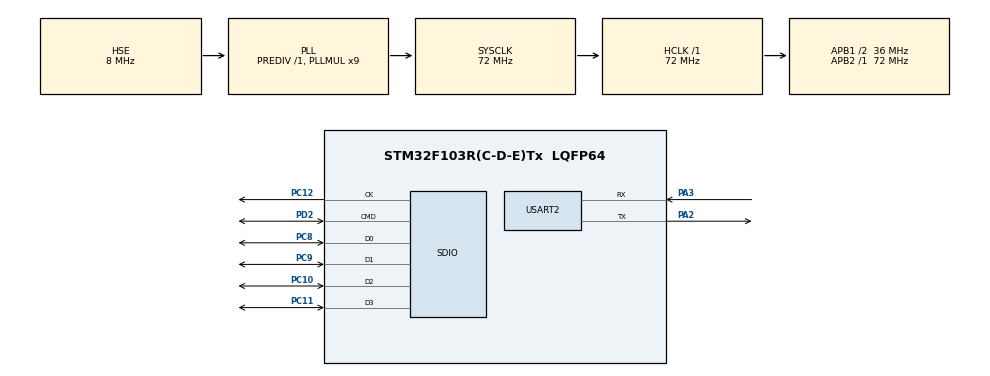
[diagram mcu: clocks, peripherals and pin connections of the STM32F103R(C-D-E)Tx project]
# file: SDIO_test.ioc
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Dma.Request0=SDIO
Dma.SDIO.0.Direction=DMA_PERIPH_TO_MEMORY
Dma.SDIO.0.Instance=DMA2_Channel4
Dma.SDIO.0.MemDataAlignment=DMA_MDATAALIGN_WORD
Dma.SDIO.0.MemInc=DMA_MINC_ENABLE
Dma.SDIO.0.Mode=DMA_NORMAL
Dma.SDIO.0.PeriphDataAlignment=DMA_PDATAALIGN_WORD
Dma.SDIO.0.PeriphInc=DMA_PINC_DISABLE
Dma.SDIO.0.Priority=DMA_PRIORITY_LOW
FATFS._CODE_PAGE=936
FATFS._USE_LFN=2
Mcu.Family=STM32F1
Mcu.Name=STM32F103R(C-D-E)Tx
Mcu.Package=LQFP64
NVIC.DMA2_Channel4_5_IRQn=true\:0\:0\:false\:false\:true
NVIC.PriorityGroup=NVIC_PRIORITYGROUP_4
NVIC.SDIO_IRQn=true\:0\:0\:false\:false\:true
PA13.Mode=Serial_Wire
PA13.Signal=SYS_JTMS-SWDIO
PA14.Mode=Serial_Wire
PA14.Signal=SYS_JTCK-SWCLK
PA2.Mode=Asynchronous
PA2.Signal=USART2_TX
PA3.Mode=Asynchronous
PA3.Signal=USART2_RX
PC10.Mode=SD_4_bits_Wide_bus
PC10.Signal=SDIO_D2
PC11.Mode=SD_4_bits_Wide_bus
PC11.Signal=SDIO_D3
PC12.Mode=SD_4_bits_Wide_bus
PC12.Signal=SDIO_CK
PC8.Mode=SD_4_bits_Wide_bus
PC8.Signal=SDIO_D0
PC9.Mode=SD_4_bits_Wide_bus
PC9.Signal=SDIO_D1
PD0-OSC_IN.Mode=HSE-External-Oscillator
PD0-OSC_IN.Signal=RCC_OSC_IN
PD1-OSC_OUT.Mode=HSE-External-Oscillator
PD1-OSC_OUT.Signal=RCC_OSC_OUT
PD2.Mode=SD_4_bits_Wide_bus
PD2.Signal=SDIO_CMD
ProjectManager.HeapSize=0x200
ProjectManager.StackSize=0x1000
ProjectManager.TargetToolchain=MDK-ARM V5
RCC.AHBFreq_Value=72000000
RCC.APB1CLKDivider=RCC_HCLK_DIV2
RCC.APB1Freq_Value=36000000
RCC.APB1TimFreq_Value=72000000
RCC.APB2Freq_Value=72000000
RCC.APB2TimFreq_Value=72000000
RCC.HCLKFreq_Value=72000000
RCC.PLLMUL=RCC_PLL_MUL9
RCC.PLLSourceVirtual=RCC_PLLSOURCE_HSE
RCC.SYSCLKFreq_VALUE=72000000
RCC.SYSCLKSource=RCC_SYSCLKSOURCE_PLLCLK
RCC.USBFreq_Value=72000000
USART2.VirtualMode=VM_ASYNC
VP_FATFS_VS_SDIO.Mode=SDIO
board=SDIO_test

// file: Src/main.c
/**
  ******************************************************************************
  * File Name          : main.c
  * Description        : Main program body
  ******************************************************************************
  * This notice applies to any and all portions of this file
  * that are not between comment pairs USER CODE BEGIN and
  * USER CODE END. Other portions of this file, whether
  * inserted by the user or by software development tools
  * are owned by their respective copyright owners.
  *
  * Copyright (c) 2017 STMicroelectronics International N.V.
  * All rights reserved.
  *
  * Redistribution and use in source and binary forms, with or without
  * modification, are permitted, provided that the following conditions are met:
  *
  * 1. Redistribution of source code must retain the above copyright notice,
  *    this list of conditions and the following disclaimer.
  * 2. Redistributions in binary form must reproduce the above copyright notice,
  *    this list of conditions and the following disclaimer in the documentation
  *    and/or other materials provided with the distribution.
  * 3. Neither the name of STMicroelectronics nor the names of other
  *    contributors to this software may be used to endorse or promote products
  *    derived from this software without specific written permission.
  * 4. This software, including modifications and/or derivative works of this
  *    software, must execute solely and exclusively on microcontroller or
  *    microprocessor devices manufactured by or for STMicroelectronics.
  * 5. Redistribution and use of this software other than as permitted under
  *    this license is void and will automatically terminate your rights under
  *    this license.
  *
  * THIS SOFTWARE IS PROVIDED BY STMICROELECTRONICS AND CONTRIBUTORS "AS IS"
  * AND ANY EXPRESS, IMPLIED OR STATUTORY WARRANTIES, INCLUDING, BUT NOT
  * LIMITED TO, THE IMPLIED WARRANTIES OF MERCHANTABILITY, FITNESS FOR A
  * PARTICULAR PURPOSE AND NON-INFRINGEMENT OF THIRD PARTY INTELLECTUAL PROPERTY
  * RIGHTS ARE DISCLAIMED TO THE FULLEST EXTENT PERMITTED BY LAW. IN NO EVENT
  * SHALL STMICROELECTRONICS OR CONTRIBUTORS BE LIABLE FOR ANY DIRECT, INDIRECT,
  * INCIDENTAL, SPECIAL, EXEMPLARY, OR CONSEQUENTIAL DAMAGES (INCLUDING, BUT NOT
  * LIMITED TO, PROCUREMENT OF SUBSTITUTE GOODS OR SERVICES; LOSS OF USE, DATA,
  * OR PROFITS; OR BUSINESS INTERRUPTION) HOWEVER CAUSED AND ON ANY THEORY OF
  * LIABILITY, WHETHER IN CONTRACT, STRICT LIABILITY, OR TORT (INCLUDING
  * NEGLIGENCE OR OTHERWISE) ARISING IN ANY WAY OUT OF THE USE OF THIS SOFTWARE,
  * EVEN IF ADVISED OF THE POSSIBILITY OF SUCH DAMAGE.
  *
  ******************************************************************************
  */
#include "main.h"
#include "stm32f1xx_hal.h"
#include "dma.h"
#include "fatfs.h"
#include "sdio.h"
#include "usart.h"
#include "gpio.h"

/* USER CODE BEGIN Includes */

#include <string.h>

/* USER CODE END Includes */

/* USER CODE BEGIN PV */
/* Private variables ---------------------------------------------------------*/

FATFS fs;
FIL fil;

uint32_t byteswritten;
uint32_t bytesread;
uint8_t wtext[]="This is STM32 working with FatFs";
uint8_t rtext[100];
char filename[]="STM32Test";
uint8_t *test = 0;
/* USER CODE END PV */

void SystemClock_Config(void);

/* USER CODE BEGIN PFP */
/* Private function prototypes -----------------------------------------------*/

/* USER CODE END PFP */

/* USER CODE BEGIN 0 */
//static void Error_Handle(void);
/* USER CODE END 0 */

int main(void)
{

  /* MCU Configuration----------------------------------------------------------*/

  /* Reset of all peripherals, Initializes the Flash interface and the Systick. */
  HAL_Init();

  /* Configure the system clock */
  SystemClock_Config();

  /* Initialize all configured peripherals */
  MX_GPIO_Init();
  MX_DMA_Init();
  MX_SDIO_SD_Init();
  MX_USART2_UART_Init();
  MX_FATFS_Init();

  /* Infinite loop */
  while (1)
  {

  /* USER CODE BEGIN 3 */
			printf("\r\n ******FatFs Example******\r\n\r\n");

		///* Register the file system object to the FatFs module */
		retSD = f_mount(&fs,"",0);
		if( retSD )
		{
			printf(" mount error:%d \r\n ",retSD);
//			Error_Handler();
		}
		else
		{
			printf("mount succeed!!! \r\n");
		}

		///* Creat file name */
		retSD = f_mkdir( (const TCHAR*)test );
		printf("nkdir file is %d \n\r",retSD);

		///* Create and open new text file object with write access */
		retSD = f_open( &fil,(const TCHAR*)test,FA_CREATE_ALWAYS|FA_WRITE );
		if(retSD)
		{
			printf("open file error:%d \r\n",retSD);
		}
		else
		{
			printf("open file succeed!!! \r\n");
		}

		///* Write data to the text file */
		retSD = f_write( &fil,wtext,sizeof(wtext),(void *)byteswritten );
		if(retSD)
		{
			printf("write file error:%d \r\n");
		}
		else
		{
			printf("write file succeed!!! \r\n");
			printf("write Data:%s \r\n");
		}

		///* Close the open text file */
		retSD = f_close(&fil);
		if(retSD)
		{
			printf("close error! \r\n");
		}
		else
		{
			printf("close succeed!!! \r\n");
		}

		///* Open the text files object with read access */
		retSD = f_open(&fil,(const TCHAR*)filename,FA_READ);
		if(retSD)
		{
			printf("open file error:%d \r\n",retSD);
		}
		else
		{
			printf("open file succeed! \r\n");
		}

		///* read data from the text files */
		retSD = f_read(&fil,rtext,sizeof(rtext),(UINT *)&bytesread);
		if(retSD)
		{
			printf("read error:%d \r\n",retSD);
		}
		else
		{
			printf("read succeed!! \r\n");
			printf("read Data : %s \r\n",rtext);
		}

		///* close the open text file */
		retSD = f_close(&fil);
		if(retSD)
		{
			printf("close error:%d \r\n",retSD);
		}
		else
		{
			printf("close secceed!! \r\n");
		}

		///* compare read data with the expected data */
		if( bytesread == byteswritten )
		{
			printf("FatFs is working well!!! \r\n");
		}

  }
  /* USER CODE END 3 */

}

/** System Clock Configuration
*/
void SystemClock_Config(void)
{

  RCC_OscInitTypeDef RCC_OscInitStruct;
  RCC_ClkInitTypeDef RCC_ClkInitStruct;

    /**Initializes the CPU, AHB and APB busses clocks
    */
  RCC_OscInitStruct.OscillatorType = RCC_OSCILLATORTYPE_HSE;
  RCC_OscInitStruct.HSEState = RCC_HSE_ON;
  RCC_OscInitStruct.HSEPredivValue = RCC_HSE_PREDIV_DIV1;
  RCC_OscInitStruct.HSIState = RCC_HSI_ON;
  RCC_OscInitStruct.PLL.PLLState = RCC_PLL_ON;
  RCC_OscInitStruct.PLL.PLLSource = RCC_PLLSOURCE_HSE;
  RCC_OscInitStruct.PLL.PLLMUL = RCC_PLL_MUL9;
  if (HAL_RCC_OscConfig(&RCC_OscInitStruct) != HAL_OK)
  {
    _Error_Handler(__FILE__, __LINE__);
  }

    /**Initializes the CPU, AHB and APB busses clocks
    */
  RCC_ClkInitStruct.ClockType = RCC_CLOCKTYPE_HCLK|RCC_CLOCKTYPE_SYSCLK
                              |RCC_CLOCKTYPE_PCLK1|RCC_CLOCKTYPE_PCLK2;
  RCC_ClkInitStruct.SYSCLKSource = RCC_SYSCLKSOURCE_PLLCLK;
  RCC_ClkInitStruct.AHBCLKDivider = RCC_SYSCLK_DIV1;
  RCC_ClkInitStruct.APB1CLKDivider = RCC_HCLK_DIV2;
  RCC_ClkInitStruct.APB2CLKDivider = RCC_HCLK_DIV1;

  if (HAL_RCC_ClockConfig(&RCC_ClkInitStruct, FLASH_LATENCY_2) != HAL_OK)
  {
    _Error_Handler(__FILE__, __LINE__);
  }

    /**Configure the Systick interrupt time
    */
  HAL_SYSTICK_Config(HAL_RCC_GetHCLKFreq()/1000);

    /**Configure the Systick
    */
  HAL_SYSTICK_CLKSourceConfig(SYSTICK_CLKSOURCE_HCLK);

  /* SysTick_IRQn interrupt configuration */
  HAL_NVIC_SetPriority(SysTick_IRQn, 0, 0);
}

void _Error_Handler(char * file, int line)
{
  /* USER CODE BEGIN Error_Handler_Debug */
	printf("someing wrong... \r\n");
  /* User can add his own implementation to report the HAL error return state */
  while(1)
  {
  }
  /* USER CODE END Error_Handler_Debug */
}

/************************ (C) COPYRIGHT STMicroelectronics *****END OF FILE****/
